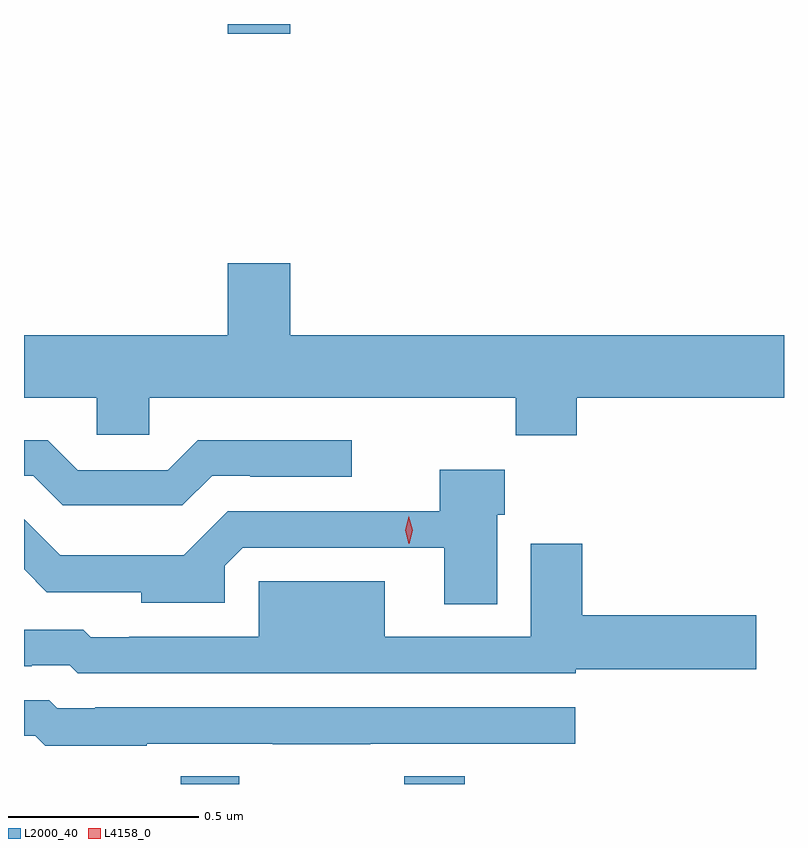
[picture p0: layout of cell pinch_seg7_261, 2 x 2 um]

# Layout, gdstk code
import gdstk
lib = gdstk.Library(unit=1e-6, precision=1e-09)
def R(c, l, rs):  # rectangles x0, y0, x1, y1
    for r in rs: c.add(gdstk.rectangle(r[:2], r[2:], *l))
def P(c, l, *ps):  # polygons
    for p in ps: c.add(gdstk.Polygon(p, *l))
L2000_40 = (2000, 40)
L4158_0 = (4158, 0)

pinch_seg7_261 = lib.new_cell('pinch_seg7_261')
R(pinch_seg7_261, L2000_40, [(824.224,1028.903,824.379,1028.924), (824.812,1028.903,824.972,1028.924), (824.348,1030.878,824.512,1030.903)])
P(pinch_seg7_261, L2000_40, [(825.266,1029.92),(825.812,1029.92),(825.812,1030.084),(824.512,1030.084),(824.512,1030.273),(824.348,1030.273),(824.348,1030.084),(823.812,1030.084),(823.812,1029.92),(824.004,1029.92),(824.004,1029.822),(824.142,1029.822),(824.142,1029.92),(825.106,1029.92),(825.106,1029.821),(825.266,1029.821)],
  [(824.307,1029.714),(824.407,1029.714),(824.407,1029.711),(824.674,1029.711),(824.674,1029.808),(824.269,1029.808),(824.19,1029.729),(823.953,1029.729),(823.874,1029.808),(823.812,1029.808),(823.812,1029.714),(823.836,1029.714),(823.914,1029.636),(824.229,1029.636)],
  [(825.058,1029.612),(825.077,1029.612),(825.077,1029.73),(824.906,1029.73),(824.906,1029.621),(824.348,1029.621),(824.232,1029.505),(823.907,1029.505),(823.812,1029.6),(823.812,1029.468),(823.872,1029.408),(824.121,1029.408),(824.121,1029.38),(824.34,1029.38),(824.34,1029.477),(824.388,1029.525),(824.918,1029.525),(824.918,1029.376),(825.058,1029.376)],
  [(825.264,1029.205),(825.739,1029.205),(825.739,1029.347),(825.281,1029.347),(825.281,1029.535),(825.146,1029.535),(825.146,1029.291),(824.761,1029.291),(824.761,1029.436),(824.43,1029.436),(824.43,1029.291),(824.089,1029.291),(824.089,1029.289),(823.988,1029.289),(823.968,1029.309),(823.812,1029.309),(823.812,1029.213),(823.832,1029.213),(823.832,1029.216),(823.932,1029.216),(823.953,1029.195),(825.264,1029.195)],
  [(824.135,1029.009),(824.467,1029.009),(824.467,1029.007),(824.723,1029.007),(824.723,1029.009),(825.262,1029.009),(825.262,1029.105),(823.999,1029.105),(823.999,1029.102),(823.899,1029.102),(823.878,1029.123),(823.812,1029.123),(823.812,1029.03),(823.842,1029.03),(823.868,1029.004),(824.135,1029.004)])
P(pinch_seg7_261, L4158_0, [(824.825,1029.535),(824.815,1029.571),(824.824,1029.607),(824.825,1029.607),(824.825,1029.607),(824.835,1029.571),(824.826,1029.535),(824.826,1029.535)])

lib.write_gds('pinch_seg7_261.gds')
